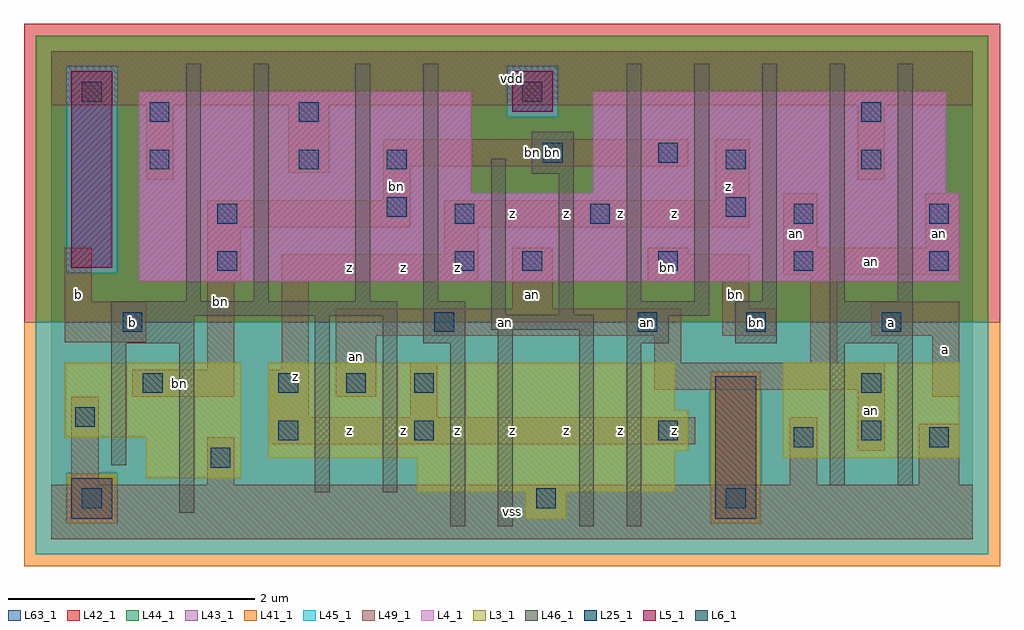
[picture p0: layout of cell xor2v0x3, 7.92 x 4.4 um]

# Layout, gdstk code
import gdstk
lib = gdstk.Library(unit=1e-6, precision=1e-09)
def R(c, l, rs):  # rectangles x0, y0, x1, y1
    for r in rs: c.add(gdstk.rectangle(r[:2], r[2:], *l))
def A(c, l, x, y, w, h, nx, ny, dx, dy):  # array of equal rectangles
    R(c, l, [(x+i*dx, y+j*dy, x+i*dx+w, y+j*dy+h) for i in range(nx) for j in range(ny)])
L3_1 = (3, 1)
L4_1 = (4, 1)
L5_1 = (5, 1)
L6_1 = (6, 1)
L25_1 = (25, 1)
L41_1 = (41, 1)
L42_1 = (42, 1)
L43_1 = (43, 1)
L44_1 = (44, 1)
L45_1 = (45, 1)
L46_1 = (46, 1)
L49_1 = (49, 1)
L63_1 = (63, 1)

xor2v0x3 = lib.new_cell('xor2v0x3')
R(xor2v0x3, L3_1, [(3.85,0.165,4.18,0.385), (2.97,0.385,5.06,0.66), (0.77,0.495,1.54,0.825), (1.76,0.66,5.06,0.715), (5.94,0.66,7.37,1.43), (1.76,0.715,5.17,1.045), (0.11,0.825,1.54,1.43), (1.76,1.045,5.06,1.43)])
R(xor2v0x3, L4_1, [(0.715,2.09,7.37,2.805), (0.715,2.805,3.41,3.63), (4.4,2.805,7.26,3.63)])
R(xor2v0x3, L5_1, [(0.165,2.2,0.495,3.795), (3.74,3.465,4.07,3.795)])
R(xor2v0x3, L6_1, [(0.165,0.165,0.495,0.495), (5.39,0.165,5.72,1.32)])
A(xor2v0x3, L25_1, 1.845, 1.185, 0.16, 0.16, 3, 1, 0.55, 0)
A(xor2v0x3, L25_1, 3.825, 2.175, 0.16, 0.16, 4, 1, 1.1, 0)
R(xor2v0x3, L25_1, [(0.25,0.25,0.41,0.41), (3.935,0.25,4.095,0.41), (5.475,0.25,5.635,0.41), (1.295,0.58,1.455,0.74), (6.025,0.745,6.185,0.905), (7.125,0.745,7.285,0.905), (1.845,0.8,2.005,0.96), (2.945,0.8,3.105,0.96), (4.925,0.8,5.085,0.96), (6.575,0.8,6.735,0.96), (0.195,0.91,0.355,1.07), (0.745,1.185,0.905,1.345), (6.575,1.185,6.735,1.345), (0.58,1.68,0.74,1.84), (3.11,1.68,3.27,1.84), (4.76,1.68,4.92,1.84), (5.64,1.68,5.8,1.84), (6.74,1.68,6.9,1.84), (1.35,2.175,1.51,2.335), (3.275,2.175,3.435,2.335), (1.35,2.56,1.51,2.72), (3.275,2.56,3.435,2.72), (4.375,2.56,4.535,2.72), (6.025,2.56,6.185,2.72), (7.125,2.56,7.285,2.72), (2.725,2.615,2.885,2.775), (5.475,2.615,5.635,2.775), (0.8,3,0.96,3.16), (2.01,3,2.17,3.16), (2.725,3,2.885,3.16), (5.475,3,5.635,3.16), (6.575,3,6.735,3.16), (3.99,3.055,4.15,3.215), (4.925,3.055,5.085,3.215), (0.8,3.385,0.96,3.545), (2.01,3.385,2.17,3.545), (6.575,3.385,6.735,3.545), (0.25,3.55,0.41,3.71), (3.825,3.55,3.985,3.71)])
R(xor2v0x3, L41_1, [(-0.22,-0.22,7.7,1.76)])
R(xor2v0x3, L42_1, [(-0.22,1.76,7.7,4.18)])
R(xor2v0x3, L43_1, [(0.165,0.165,0.495,0.495), (3.85,0.165,4.18,0.385), (5.39,0.165,5.72,1.32), (2.97,0.385,5.06,0.66), (0.77,0.495,1.54,0.825), (1.76,0.66,5.06,0.715), (5.94,0.66,7.37,1.43), (1.76,0.715,5.17,1.045), (0.11,0.825,1.54,1.43), (1.76,1.045,5.06,1.43), (0.715,2.09,7.37,2.805), (0.165,2.2,0.495,3.795), (0.715,2.805,3.41,3.63), (4.4,2.805,7.26,3.63), (3.74,3.465,4.07,3.795)])
R(xor2v0x3, L44_1, [(0.125,0.125,0.535,0.535), (5.35,0.125,5.76,1.36), (-0.125,1.76,7.605,2.16), (-0.125,2.16,0.125,3.835), (0.535,2.16,7.605,3.425), (0.535,3.425,3.7,3.835), (4.11,3.425,7.605,3.835), (-0.125,3.835,7.605,4.085)])
R(xor2v0x3, L45_1, [(-0.125,-0.125,7.605,0.125), (-0.125,0.125,0.125,0.535), (0.535,0.125,5.35,0.535), (5.76,0.125,7.605,1.36), (-0.125,0.535,5.35,1.36), (-0.125,1.36,7.605,1.76), (0.125,2.16,0.535,3.835), (3.7,3.425,4.11,3.835)])
A(xor2v0x3, L46_1, 4.67, 1.93, 0.12, 1.925, 5, 1, 0.55, 0)
R(xor2v0x3, L46_1, [(3.24,0.105,3.36,1.59), (3.625,0.105,3.745,1.7), (4.285,0.105,4.405,1.7), (4.67,0.105,4.79,1.59), (1.04,0.215,1.16,1.59), (2.14,0.38,2.26,1.81), (2.69,0.38,2.81,1.81), (6.32,0.435,6.44,1.59), (6.87,0.435,6.99,1.59), (0.49,0.6,0.61,1.59), (0.49,1.59,1.16,1.81), (3.02,1.59,3.36,1.93), (4.67,1.59,5.01,1.81), (5.55,1.59,5.89,1.93), (6.32,1.59,6.99,1.93), (3.57,1.7,4.405,1.82), (0.49,1.81,2.81,1.93), (4.67,1.81,5.34,1.93), (3.57,1.82,3.69,3.085), (4.12,1.82,4.24,2.965), (1.095,1.93,1.215,3.855), (1.645,1.93,1.765,3.855), (2.47,1.93,2.59,3.855), (3.02,1.93,3.14,3.855), (3.9,2.965,4.24,3.305)])
R(xor2v0x3, L49_1, [(0,0,7.48,0.44), (0.165,0.44,0.385,1.155), (1.265,0.44,1.485,0.825), (5.995,0.44,6.215,0.99), (7.04,0.44,7.37,0.935), (6.545,0.715,6.765,1.21), (1.76,0.77,5.225,0.99), (1.76,0.99,2.09,1.375), (2.915,0.99,3.135,1.43), (0.66,1.155,1.485,1.375), (2.31,1.155,2.64,1.65), (7.15,1.155,7.37,1.65), (4.895,1.21,6.765,1.43), (1.265,1.375,1.485,2.09), (1.87,1.375,2.09,2.09), (4.895,1.43,5.115,1.65), (6.16,1.43,6.38,2.145), (0.11,1.595,0.77,1.925), (2.31,1.65,5.115,1.87), (5.445,1.65,5.885,1.87), (6.655,1.65,7.37,1.925), (3.74,1.87,4.07,2.365), (5.445,1.87,5.665,2.09), (0.11,1.925,0.33,2.365), (1.265,2.09,1.54,2.53), (1.87,2.09,3.465,2.31), (4.84,2.09,5.665,2.31), (5.94,2.145,7.37,2.365), (3.19,2.31,3.465,2.53), (4.84,2.31,5.17,2.365), (5.94,2.365,6.215,2.805), (7.095,2.365,7.37,2.805), (1.265,2.53,2.915,2.75), (3.19,2.53,5.665,2.75), (2.695,2.75,2.915,3.025), (5.39,2.75,5.665,3.245), (0.77,2.915,0.99,3.52), (6.545,2.915,6.765,3.52), (1.925,2.97,2.255,3.52), (2.695,3.025,5.17,3.245), (0,3.52,7.48,3.96)])
R(xor2v0x3, L63_1, [(0,0,7.48,3.96)])
xor2v0x3.add(gdstk.Label('an', (4.84,1.76), layer=49, texttype=1))
xor2v0x3.add(gdstk.Label('bn', (4.07,3.135), layer=49, texttype=1))
xor2v0x3.add(gdstk.Label('bn', (5.72,1.76), layer=49, texttype=1))
xor2v0x3.add(gdstk.Label('b', (0.66,1.76), layer=49, texttype=1))
xor2v0x3.add(gdstk.Label('b', (0.22,1.98), layer=49, texttype=1))
xor2v0x3.add(gdstk.Label('z', (2.42,0.88), layer=49, texttype=1))
xor2v0x3.add(gdstk.Label('bn', (1.045,1.265), layer=49, texttype=1))
xor2v0x3.add(gdstk.Label('z', (1.98,1.32), layer=49, texttype=1))
xor2v0x3.add(gdstk.Label('an', (2.475,1.485), layer=49, texttype=1))
xor2v0x3.add(gdstk.Label('z', (2.42,2.2), layer=49, texttype=1))
xor2v0x3.add(gdstk.Label('bn', (1.375,1.925), layer=49, texttype=1))
xor2v0x3.add(gdstk.Label('bn', (2.805,2.86), layer=49, texttype=1))
xor2v0x3.add(gdstk.Label('vss', (3.74,0.22), layer=49, texttype=1))
xor2v0x3.add(gdstk.Label('z', (4.18,0.88), layer=49, texttype=1))
xor2v0x3.add(gdstk.Label('z', (3.74,0.88), layer=49, texttype=1))
xor2v0x3.add(gdstk.Label('z', (3.3,0.88), layer=49, texttype=1))
xor2v0x3.add(gdstk.Label('z', (2.86,0.88), layer=49, texttype=1))
xor2v0x3.add(gdstk.Label('z', (2.86,2.2), layer=49, texttype=1))
xor2v0x3.add(gdstk.Label('z', (3.3,2.2), layer=49, texttype=1))
xor2v0x3.add(gdstk.Label('an', (3.905,1.98), layer=49, texttype=1))
xor2v0x3.add(gdstk.Label('z', (4.18,2.64), layer=49, texttype=1))
xor2v0x3.add(gdstk.Label('z', (3.74,2.64), layer=49, texttype=1))
xor2v0x3.add(gdstk.Label('vdd', (3.74,3.74), layer=49, texttype=1))
xor2v0x3.add(gdstk.Label('z', (5.06,0.88), layer=49, texttype=1))
xor2v0x3.add(gdstk.Label('z', (4.62,0.88), layer=49, texttype=1))
xor2v0x3.add(gdstk.Label('bn', (5.555,1.98), layer=49, texttype=1))
xor2v0x3.add(gdstk.Label('an', (3.685,1.76), layer=49, texttype=1))
xor2v0x3.add(gdstk.Label('bn', (5.005,2.2), layer=49, texttype=1))
xor2v0x3.add(gdstk.Label('z', (4.62,2.64), layer=49, texttype=1))
xor2v0x3.add(gdstk.Label('z', (5.5,2.86), layer=49, texttype=1))
xor2v0x3.add(gdstk.Label('z', (5.06,2.64), layer=49, texttype=1))
xor2v0x3.add(gdstk.Label('bn', (3.905,3.135), layer=49, texttype=1))
xor2v0x3.add(gdstk.Label('an', (6.655,1.045), layer=49, texttype=1))
xor2v0x3.add(gdstk.Label('a', (7.26,1.54), layer=49, texttype=1))
xor2v0x3.add(gdstk.Label('a', (6.82,1.76), layer=49, texttype=1))
xor2v0x3.add(gdstk.Label('an', (7.205,2.475), layer=49, texttype=1))
xor2v0x3.add(gdstk.Label('an', (6.655,2.255), layer=49, texttype=1))
xor2v0x3.add(gdstk.Label('an', (6.05,2.475), layer=49, texttype=1))

lib.write_gds('xor2v0x3.gds')
